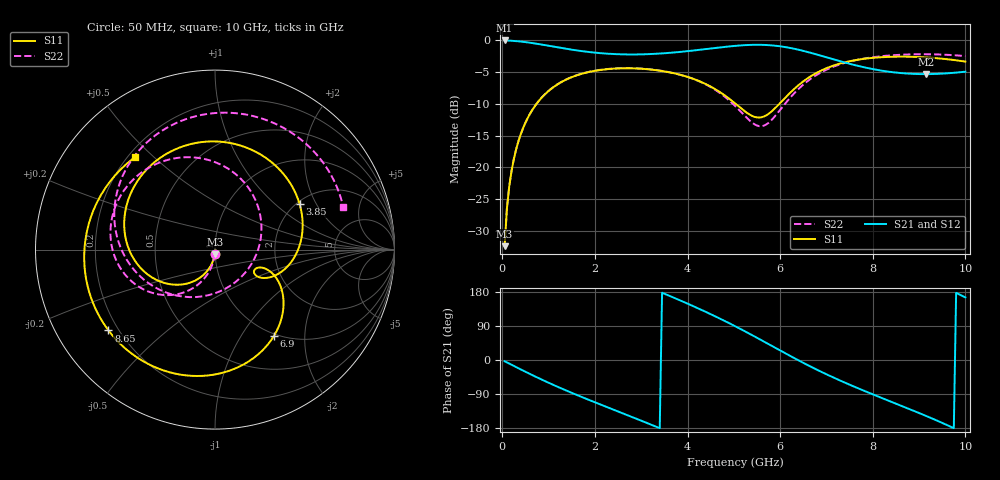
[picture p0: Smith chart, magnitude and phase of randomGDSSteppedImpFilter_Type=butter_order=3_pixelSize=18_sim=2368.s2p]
! freq	dB(S11)	phase(S11)	dB(S12)	phase(S12)
!  dB(S21)	phase(S21)	dB(S22)	phase(S22)
!S-par simulation data
#  GHz  S  DB  R 50
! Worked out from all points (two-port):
!   200 points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, 50 MHz to 10 GHz, reference 50 ohm
!   highest |S21| = -0.01 dB at 50 MHz (marker M1); lowest = -5.3 dB at 9.15 GHz (marker M2)
!   |S21| within 3 dB of the highest: start of sweep to 7.165 GHz
!   lowest |S11| = -32.4 dB at 50 MHz (marker M3), VSWR 1.05, Z = 49.8 - j2.39 ohm
!   |S11| at or under -10 dB: start of sweep to 738.4 MHz; 5.04 GHz to 5.981 GHz (940.4 MHz wide, 17.1 % of centre)
!   |S22| runs from -32.4 to -2.2 dB; largest |S21 - S12| = 0
!   S11 on the Smith chart (normalised r, x): 50 MHz: 1.00, -0.05; 3.85 GHz: 2.08, +1.48; 6.9 GHz: 0.97, -1.41; 8.65 GHz: 0.16, -0.33; 10 GHz: 0.23, +0.44
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0.05  -32.38 -93.4  -0.01 -3.2  -0.01 -3.2  -32.38 -92.5
0.1  -26.44 -97.4  -0.02 -6.4  -0.02 -6.4  -26.43 -95.6
0.2  -20.53 -104.8  -0.06 -12.6  -0.06 -12.6  -20.52 -101.2
0.5  -12.95 -126.0  -0.27 -31.1  -0.27 -31.1  -12.93 -117.0
1.1  -7.38 -166.3  -0.97 -65.6  -0.97 -65.6  -7.36 -146.1
1.75  -5.18 153.6  -1.72 -99.3  -1.72 -99.3  -5.16 -173.3
2.6  -4.39 103.1  -2.20 -140.6  -2.20 -140.6  -4.36 154.8
3.4  -4.76 55.2  -2.07 -180.0  -2.07 -180.0  -4.74 124.8
3.85  -5.43 28.2  -1.81 156.8  -1.81 156.8  -5.42 106.0
4.45  -7.07 -5.9  -1.32 123.8  -1.32 123.8  -7.14 75.7
5.05  -10.06 -30.3  -0.85 87.8  -0.85 87.8  -10.47 30.7
5.55  -12.14 -27.2  -0.69 55.4  -0.69 55.4  -13.50 -38.9
5.95  -10.23 -20.8  -0.88 28.5  -0.88 28.5  -11.39 -104.9
6.3  -7.66 -28.6  -1.31 5.3  -1.31 5.3  -8.35 -144.4
6.7  -5.47 -45.9  -2.04 -20.0  -2.04 -20.0  -5.85 -177.2
6.9  -4.69 -55.7  -2.45 -31.9  -2.45 -31.9  -4.97 168.9
7.65  -3.07 -93.2  -3.96 -73.0  -3.96 -73.0  -3.08 125.1
8.35  -2.59 -127.6  -4.93 -107.8  -4.93 -107.8  -2.38 90.5
8.65  -2.56 -142.8  -5.17 -122.5  -5.17 -122.5  -2.24 76.6
9.15  -2.68 -170.0  -5.31 -147.5  -5.31 -147.5  -2.18 54.1
9.6  -2.96 161.6  -5.19 -171.5  -5.19 -171.5  -2.27 34.7
10  -3.33 131.0  -4.92 165.1  -4.92 165.1  -2.47 18.3
